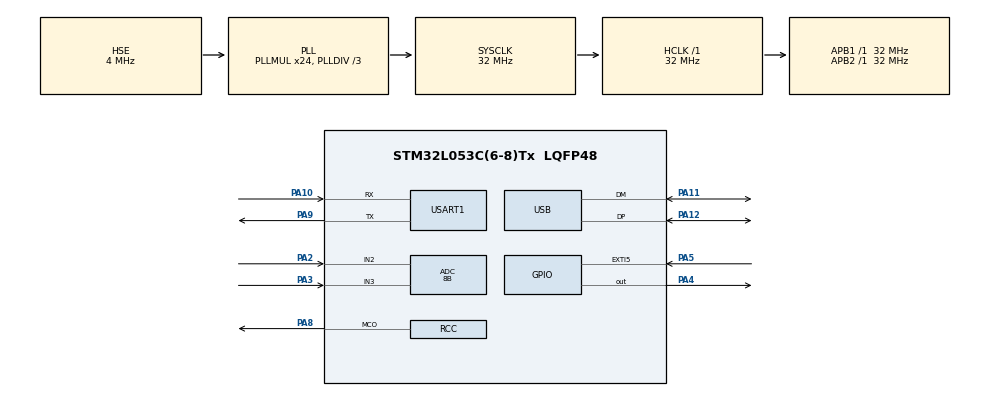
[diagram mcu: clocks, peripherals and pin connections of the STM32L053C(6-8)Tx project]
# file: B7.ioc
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ADC.ClockPrescaler=ADC_CLOCK_ASYNC_DIV64
ADC.ContinuousConvMode=ENABLE
ADC.DMAContinuousRequests=ENABLE
ADC.DataAlign=ADC_DATAALIGN_RIGHT
ADC.EOCSelection=ADC_EOC_SINGLE_CONV
ADC.Resolution=ADC_RESOLUTION_8B
Dma.ADC.0.Direction=DMA_PERIPH_TO_MEMORY
Dma.ADC.0.Instance=DMA1_Channel1
Dma.ADC.0.MemDataAlignment=DMA_MDATAALIGN_BYTE
Dma.ADC.0.MemInc=DMA_MINC_ENABLE
Dma.ADC.0.Mode=DMA_CIRCULAR
Dma.ADC.0.PeriphDataAlignment=DMA_PDATAALIGN_BYTE
Dma.ADC.0.PeriphInc=DMA_PINC_DISABLE
Dma.ADC.0.Priority=DMA_PRIORITY_LOW
Dma.Request0=ADC
Mcu.Family=STM32L0
Mcu.Name=STM32L053C(6-8)Tx
Mcu.Package=LQFP48
NVIC.DMA1_Channel1_IRQn=true\:0\:0\:false\:false\:true\:false\:true\:true
NVIC.EXTI4_15_IRQn=true\:0\:0\:false\:false\:true\:true\:true\:true
NVIC.TIM2_IRQn=true\:0\:0\:false\:false\:true\:true\:true\:true
NVIC.USB_IRQn=true\:0\:0\:false\:false\:true\:false\:true\:true
PA10.Mode=Asynchronous
PA10.Signal=USART1_RX
PA11.Mode=Device
PA11.Signal=USB_DM
PA12.Mode=Device
PA12.Signal=USB_DP
PA2.Mode=IN2
PA2.Signal=ADC_IN2
PA3.Mode=IN3
PA3.Signal=ADC_IN3
PA4.Signal=GPIO_Output
PA5.Signal=GPXTI5
PA8.Mode=Clock-out
PA8.Signal=RCC_MCO
PA9.Mode=Asynchronous
PA9.Signal=USART1_TX
PH0-OSC_IN.Mode=HSE-External-Oscillator
PH0-OSC_IN.Signal=RCC_OSC_IN
PH1-OSC_OUT.Mode=HSE-External-Oscillator
PH1-OSC_OUT.Signal=RCC_OSC_OUT
ProjectManager.HeapSize=0x200
ProjectManager.StackSize=0x400
ProjectManager.TargetToolchain=Makefile
RCC.AHBFreq_Value=32000000
RCC.APB1Freq_Value=32000000
RCC.APB1TimFreq_Value=32000000
RCC.APB2Freq_Value=32000000
RCC.APB2TimFreq_Value=32000000
RCC.HCLKFreq_Value=32000000
RCC.HSE_VALUE=4000000
RCC.HSI16_VALUE=16000000
RCC.HSI48_VALUE=48000000
RCC.HSI_VALUE=16000000
RCC.LSE_VALUE=32768
RCC.MSI_VALUE=2097000
RCC.PLLDIV=RCC_PLLDIV_3
RCC.PLLMUL=RCC_PLLMUL_24
RCC.RCC_MCODiv=RCC_MCODIV_16
RCC.RCC_MCOSource=RCC_MCO1SOURCE_PLLCLK
RCC.SYSCLKFreq_VALUE=32000000
RCC.SYSCLKSource=RCC_SYSCLKSOURCE_PLLCLK
RCC.VCOOutputFreq_Value=96000000
TIM2.AutoReloadPreload=TIM_AUTORELOAD_PRELOAD_ENABLE
TIM2.CounterMode=TIM_COUNTERMODE_UP
TIM2.Period=65000
TIM2.Prescaler=50
USART1.VirtualMode-Asynchronous=VM_ASYNC
USB_DEVICE.CLASS_NAME_FS=HID
USB_DEVICE.VirtualMode=Hid
USB_DEVICE.VirtualModeFS=Hid_FS
VP_TIM2_VS_ClockSourceINT.Mode=Internal
VP_USB_DEVICE_VS_USB_DEVICE_HID_FS.Mode=HID_FS
board=custom

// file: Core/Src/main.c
/* USER CODE BEGIN Header */
/**
  ******************************************************************************
  * @file           : main.c
  * @brief          : Main program body
  ******************************************************************************
  * @attention
  *
  * Copyright (c) 2023 STMicroelectronics.
  * All rights reserved.
  *
  * This software is licensed under terms that can be found in the LICENSE file
  * in the root directory of this software component.
  * If no LICENSE file comes with this software, it is provided AS-IS.
  *
  ******************************************************************************
  */
/* USER CODE END Header */
#include "main.h"
#include "adc.h"
#include "dma.h"
#include "tim.h"
#include "usart.h"
#include "usb_device.h"
#include "gpio.h"

/* USER CODE BEGIN Includes */
#include "usbd_hid.h"
extern USBD_HandleTypeDef hUsbDeviceFS;
/* USER CODE END Includes */

void SystemClock_Config(void);
int8_t pos(uint8_t aResultDMA);

/* USER CODE BEGIN 0 */
uint8_t aResultDMA[2] = {5,10};
volatile uint8_t debounce = 0;
uint8_t usb_buffer[4];
volatile uint8_t clk_flg = 0;

/* USER CODE END 0 */

int main(void)
{
  /* USER CODE BEGIN 1 */
  usb_buffer[0]= 0x00;
  usb_buffer[1] = 0x00;
  usb_buffer[2] = 0x00;
  usb_buffer[3] = 0x00;
  /* USER CODE END 1 */

  /* MCU Configuration--------------------------------------------------------*/

  /* Reset of all peripherals, Initializes the Flash interface and the Systick. */
  HAL_Init();

  /* Configure the system clock */
  SystemClock_Config();

  /* Initialize all configured peripherals */
  MX_GPIO_Init();
  MX_DMA_Init();
  MX_USB_DEVICE_Init();
  MX_ADC_Init();
  MX_USART1_UART_Init();
  MX_TIM2_Init();
  /* USER CODE BEGIN 2 */

  if (HAL_ADC_Start_DMA(&hadc, (uint32_t*)aResultDMA, 2) != HAL_OK)
  {
    Error_Handler();
  }

  uint8_t test;
  /* USER CODE END 2 */

  /* Infinite loop */
  /* USER CODE BEGIN WHILE */
  while (1)
{
    usb_buffer[1] = pos(aResultDMA[0]);
    usb_buffer[2] = pos(aResultDMA[1]);
    if(clk_flg)
    {
      usb_buffer[0] = 0b00000001;
      clk_flg = 0;
    }

    USBD_HID_SendReport(&hUsbDeviceFS,usb_buffer,4);
    usb_buffer[0] = 0b00000000;
    HAL_Delay(10);
    //test = (uint8_t)aResultDMA[0];
    //HAL_UART_Transmit(&huart1,&aResultDMA[0],1,HAL_MAX_DELAY);
    /* USER CODE END WHILE */

  }
}

void SystemClock_Config(void)
{
  RCC_OscInitTypeDef RCC_OscInitStruct = {0};
  RCC_ClkInitTypeDef RCC_ClkInitStruct = {0};
  RCC_PeriphCLKInitTypeDef PeriphClkInit = {0};

  /** Configure the main internal regulator output voltage
  */
  __HAL_PWR_VOLTAGESCALING_CONFIG(PWR_REGULATOR_VOLTAGE_SCALE1);

  /** Initializes the RCC Oscillators according to the specified parameters
  * in the RCC_OscInitTypeDef structure.
  */
  RCC_OscInitStruct.OscillatorType = RCC_OSCILLATORTYPE_HSI|RCC_OSCILLATORTYPE_HSE;
  RCC_OscInitStruct.HSEState = RCC_HSE_ON;
  RCC_OscInitStruct.HSIState = RCC_HSI_ON;
  RCC_OscInitStruct.HSICalibrationValue = RCC_HSICALIBRATION_DEFAULT;
  RCC_OscInitStruct.PLL.PLLState = RCC_PLL_ON;
  RCC_OscInitStruct.PLL.PLLSource = RCC_PLLSOURCE_HSE;
  RCC_OscInitStruct.PLL.PLLMUL = RCC_PLLMUL_24;
  RCC_OscInitStruct.PLL.PLLDIV = RCC_PLLDIV_3;
  if (HAL_RCC_OscConfig(&RCC_OscInitStruct) != HAL_OK)
  {
    Error_Handler();
  }

  /** Initializes the CPU, AHB and APB buses clocks
  */
  RCC_ClkInitStruct.ClockType = RCC_CLOCKTYPE_HCLK|RCC_CLOCKTYPE_SYSCLK
                              |RCC_CLOCKTYPE_PCLK1|RCC_CLOCKTYPE_PCLK2;
  RCC_ClkInitStruct.SYSCLKSource = RCC_SYSCLKSOURCE_PLLCLK;
  RCC_ClkInitStruct.AHBCLKDivider = RCC_SYSCLK_DIV1;
  RCC_ClkInitStruct.APB1CLKDivider = RCC_HCLK_DIV1;
  RCC_ClkInitStruct.APB2CLKDivider = RCC_HCLK_DIV1;

  if (HAL_RCC_ClockConfig(&RCC_ClkInitStruct, FLASH_LATENCY_1) != HAL_OK)
  {
    Error_Handler();
  }
  PeriphClkInit.PeriphClockSelection = RCC_PERIPHCLK_USART1|RCC_PERIPHCLK_USB;
  PeriphClkInit.Usart1ClockSelection = RCC_USART1CLKSOURCE_PCLK2;
  PeriphClkInit.UsbClockSelection = RCC_USBCLKSOURCE_PLL;
  if (HAL_RCCEx_PeriphCLKConfig(&PeriphClkInit) != HAL_OK)
  {
    Error_Handler();
  }
  HAL_RCC_MCOConfig(RCC_MCO1, RCC_MCO1SOURCE_PLLCLK, RCC_MCODIV_16);
}

/* USER CODE BEGIN 4 */

int8_t pos(uint8_t aResultDMA)
{
  int8_t position;

  if(aResultDMA > 0x83)
  {

    if(aResultDMA < 0xA0)
    {
      position = 0b00000001;
    }
    else if (aResultDMA < 0xC0)
    {
      position = 0b00000010;
    }
    else
    {
      position = 0b00001000;
    }

  }
  else if(aResultDMA < 0x7d)
  {
    if(aResultDMA > 0x7c)
    {
       position = 0b11111110;;
    }
    else if (aResultDMA > 0x4d)
    {
       position = 0b11111101;
    }
    else
    {
       position = 0b11110111;
    }

  }
  else
  {
    position = 0;
  }

  return position;
}

void HAL_GPIO_EXTI_Callback(uint16_t GPIO_Pin)
{
  if(GPIO_Pin == GPIO_PIN_5)
  {
    if(debounce == 0)
    {
      debounce = 1;
      HAL_GPIO_TogglePin(GPIOA,GPIO_PIN_4);
      clk_flg = 1;
      //Enablar 100 ms debounce
      HAL_TIM_Base_Start_IT(&htim2);
    }

  }
}

void HAL_TIM_PeriodElapsedCallback(TIM_HandleTypeDef* htim)
{
  debounce--;
  if(debounce == 0)
  { //Stäng av debounce
    HAL_TIM_Base_Stop_IT(&htim2);
  }
}

/* USER CODE END 4 */

void Error_Handler(void)
{
  __disable_irq();
  while (1)
  {
  }
}
